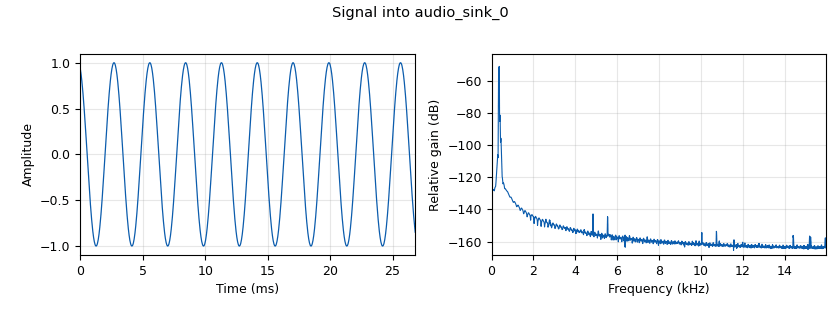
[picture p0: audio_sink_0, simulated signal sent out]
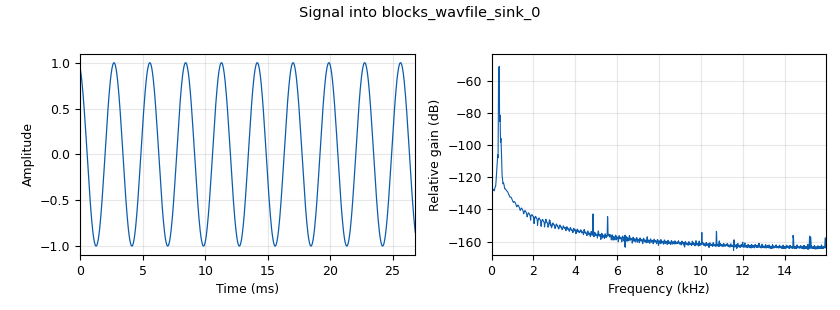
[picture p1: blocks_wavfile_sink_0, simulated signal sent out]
options:
  parameters:
    generate_options: qt_gui
    id: task1
    output_language: python
    title: Not titled yet
  states: {}

blocks:
- name: samp_rate
  id: variable
  parameters:
    value: '32000'
  states: {}
- name: audio_sink_0
  id: audio_sink
  parameters:
    samp_rate: samp_rate
  states: {}
- name: blocks_repeat_0
  id: blocks_repeat
  parameters:
    interp: '8000'
    type: float
  states: {}
- name: blocks_throttle2_0
  id: blocks_throttle2
  parameters:
    samples_per_second: samp_rate
    type: float
  states: {}
- name: blocks_vco_f_0
  id: blocks_vco_f
  parameters:
    amplitude: '1'
    samp_rate: samp_rate
    sensitivity: '6.28'
  states: {}
- name: blocks_vector_source_x_0
  id: blocks_vector_source_x
  parameters:
    repeat: 'True'
    type: float
    vector: (262,262,294,262,349,330,262,262,294,262,392,349,262,262,523,440,349,330,294,466,466,440,349,392,349)
  states: {}
- name: blocks_wavfile_sink_0
  id: blocks_wavfile_sink
  parameters:
    bits_per_sample1: FORMAT_PCM_16
    file: /home/saptarshi-biswas/Desktop/DESKTOP/EE340/LAB_1/hbd.wav
    format: FORMAT_WAV
    samp_rate: samp_rate
  states: {}

connections:
- [blocks_repeat_0, '0', blocks_vco_f_0, '0']
- [blocks_throttle2_0, '0', audio_sink_0, '0']
- [blocks_throttle2_0, '0', blocks_wavfile_sink_0, '0']
- [blocks_vco_f_0, '0', blocks_throttle2_0, '0']
- [blocks_vector_source_x_0, '0', blocks_repeat_0, '0']

metadata:
  file_format: 1
  grc_version: 3.10.9.2
